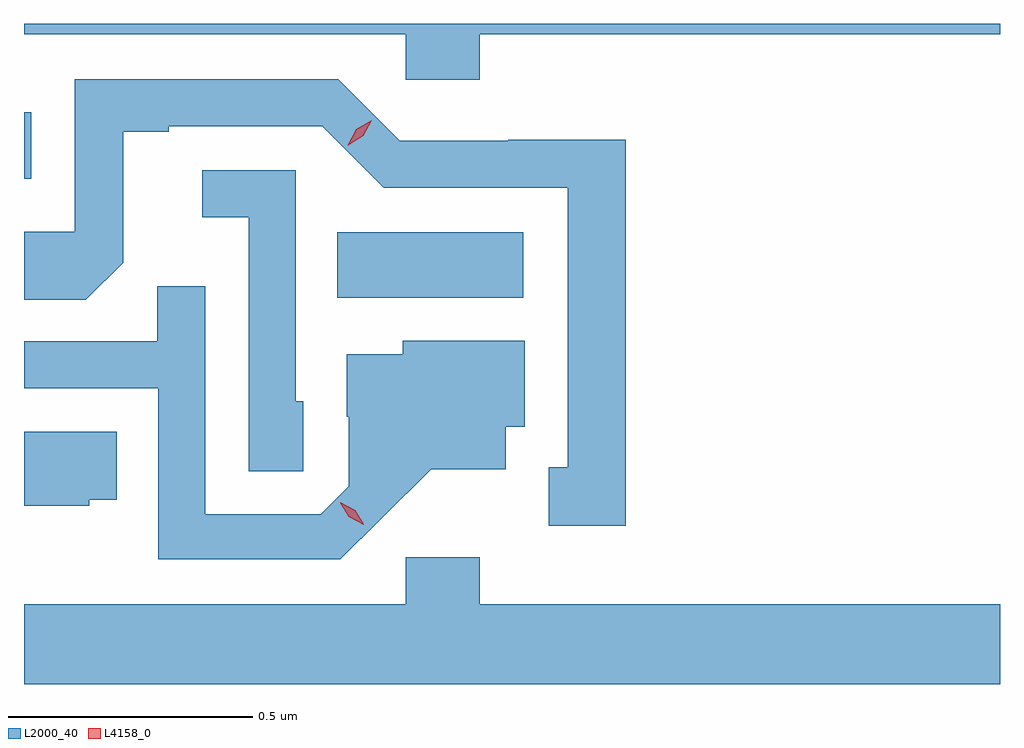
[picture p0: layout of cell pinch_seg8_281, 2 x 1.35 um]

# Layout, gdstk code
import gdstk
lib = gdstk.Library(unit=1e-6, precision=1e-09)
def R(c, l, rs):  # rectangles x0, y0, x1, y1
    for r in rs: c.add(gdstk.rectangle(r[:2], r[2:], *l))
def P(c, l, *ps):  # polygons
    for p in ps: c.add(gdstk.Polygon(p, *l))
L2000_40 = (2000, 40)
L4158_0 = (4158, 0)

pinch_seg8_281 = lib.new_cell('pinch_seg8_281')
R(pinch_seg8_281, L2000_40, [(532.084,1135.94,532.465,1136.074), (531.442,1136.184,531.457,1136.32)])
P(pinch_seg8_281, L2000_40, [(532.376,1136.48),(533.442,1136.48),(533.442,1136.502),(531.442,1136.502),(531.442,1136.48),(532.224,1136.48),(532.224,1136.387),(532.376,1136.387)],
  [(532.675,1136.264),(532.434,1136.264),(532.434,1136.262),(532.212,1136.262),(532.086,1136.388),(531.546,1136.388),(531.546,1136.076),(531.442,1136.076),(531.442,1135.936),(531.569,1135.936),(531.645,1136.012),(531.645,1136.28),(531.739,1136.28),(531.739,1136.292),(532.053,1136.292),(532.179,1136.166),(532.556,1136.166),(532.556,1135.593),(532.517,1135.593),(532.517,1135.473),(532.675,1135.473)],
  [(532.014,1135.728),(531.999,1135.728),(531.999,1136.202),(531.807,1136.202),(531.807,1136.105),(531.903,1136.105),(531.903,1135.585),(532.014,1135.585)],
  [(532.174,1135.487),(532.277,1135.589),(532.429,1135.589),(532.429,1135.676),(532.468,1135.676),(532.468,1135.852),(532.218,1135.852),(532.218,1135.825),(532.103,1135.825),(532.103,1135.696),(532.107,1135.696),(532.107,1135.554),(532.05,1135.497),(531.813,1135.497),(531.813,1135.964),(531.715,1135.964),(531.715,1135.851),(531.442,1135.851),(531.442,1135.755),(531.717,1135.755),(531.717,1135.404),(532.09,1135.404)],
  [(531.576,1135.526),(531.632,1135.526),(531.632,1135.666),(531.442,1135.666),(531.442,1135.514),(531.576,1135.514)],
  [(533.442,1135.312),(532.376,1135.312),(532.376,1135.408),(532.224,1135.408),(532.224,1135.312),(531.442,1135.312),(531.442,1135.148),(533.442,1135.148)])
P(pinch_seg8_281, L4158_0, [(532.105,1136.253),(532.105,1136.253),(532.123,1136.286),(532.155,1136.304),(532.155,1136.304),(532.155,1136.304),(532.137,1136.272),(532.106,1136.253)],
  [(532.138,1135.475),(532.107,1135.491),(532.09,1135.52),(532.09,1135.521),(532.09,1135.521),(532.121,1135.505),(532.138,1135.476),(532.138,1135.475)])

lib.write_gds('pinch_seg8_281.gds')
